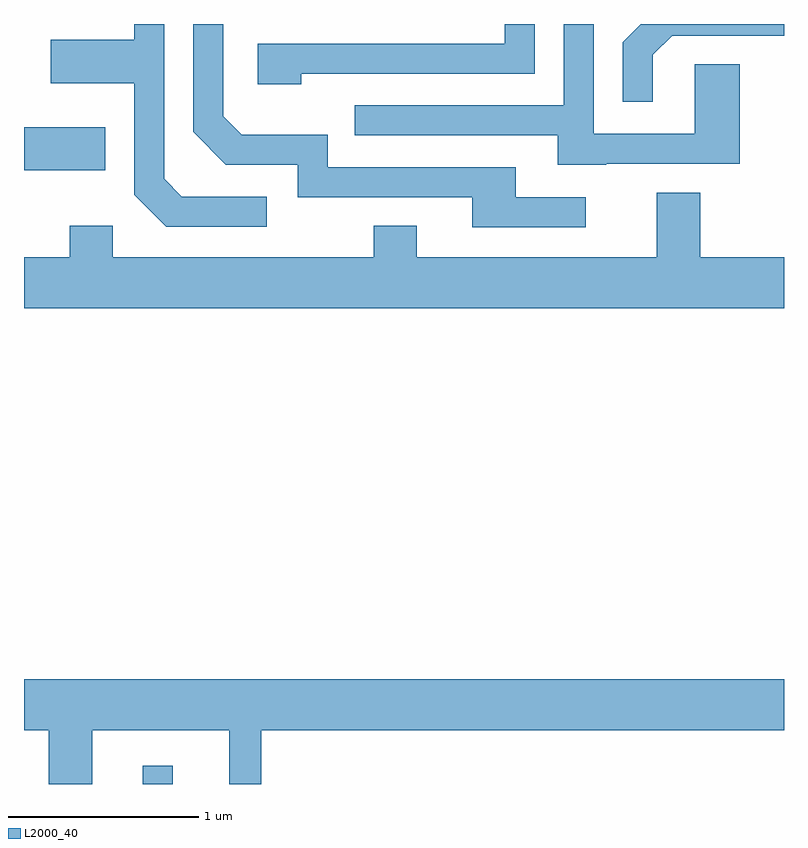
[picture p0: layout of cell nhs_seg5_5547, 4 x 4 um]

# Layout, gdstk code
import gdstk
lib = gdstk.Library(unit=1e-6, precision=1e-09)
def R(c, l, rs):  # rectangles x0, y0, x1, y1
    for r in rs: c.add(gdstk.rectangle(r[:2], r[2:], *l))
def P(c, l, *ps):  # polygons
    for p in ps: c.add(gdstk.Polygon(p, *l))
L2000_40 = (2000, 40)

nhs_seg5_5547 = lib.new_cell('nhs_seg5_5547')
R(nhs_seg5_5547, L2000_40, [(350.236,1452.072,350.394,1452.168), (349.611,1455.301,350.039,1455.529)])
P(nhs_seg5_5547, L2000_40, [(352.675,1455.336),(353.379,1455.336),(353.379,1455.859),(353.141,1455.859),(353.141,1455.494),(352.609,1455.494),(352.609,1456.072),(352.451,1456.072),(352.451,1455.644),(351.353,1455.644),(351.353,1455.486),(352.421,1455.486),(352.421,1455.331),(352.675,1455.331)],
  [(352.568,1455.159),(352.199,1455.159),(352.199,1455.319),(351.209,1455.319),(351.209,1455.489),(350.757,1455.489),(350.659,1455.587),(350.659,1456.072),(350.501,1456.072),(350.501,1455.504),(350.674,1455.331),(351.051,1455.331),(351.051,1455.161),(351.971,1455.161),(351.971,1455.001),(352.568,1455.001)],
  [(352.919,1455.909),(353.022,1456.011),(353.611,1456.011),(353.611,1456.072),(352.856,1456.072),(352.761,1455.977),(352.761,1455.663),(352.919,1455.663)],
  [(351.069,1455.811),(352.299,1455.811),(352.299,1456.072),(352.141,1456.072),(352.141,1455.969),(350.841,1455.969),(350.841,1455.756),(351.069,1455.756)],
  [(350.888,1455.164),(350.442,1455.164),(350.349,1455.257),(350.349,1456.072),(350.191,1456.072),(350.191,1455.989),(349.751,1455.989),(349.751,1455.761),(350.191,1455.761),(350.191,1455.174),(350.359,1455.006),(350.888,1455.006)],
  [(353.611,1454.844),(353.169,1454.844),(353.169,1455.184),(352.941,1455.184),(352.941,1454.844),(351.679,1454.844),(351.679,1455.009),(351.451,1455.009),(351.451,1454.844),(350.079,1454.844),(350.079,1455.009),(349.851,1455.009),(349.851,1454.844),(349.611,1454.844),(349.611,1454.576),(353.611,1454.576)],
  [(349.969,1452.356),(350.691,1452.356),(350.691,1452.072),(350.859,1452.072),(350.859,1452.356),(353.611,1452.356),(353.611,1452.624),(349.611,1452.624),(349.611,1452.356),(349.741,1452.356),(349.741,1452.072),(349.969,1452.072)])

lib.write_gds('nhs_seg5_5547.gds')
